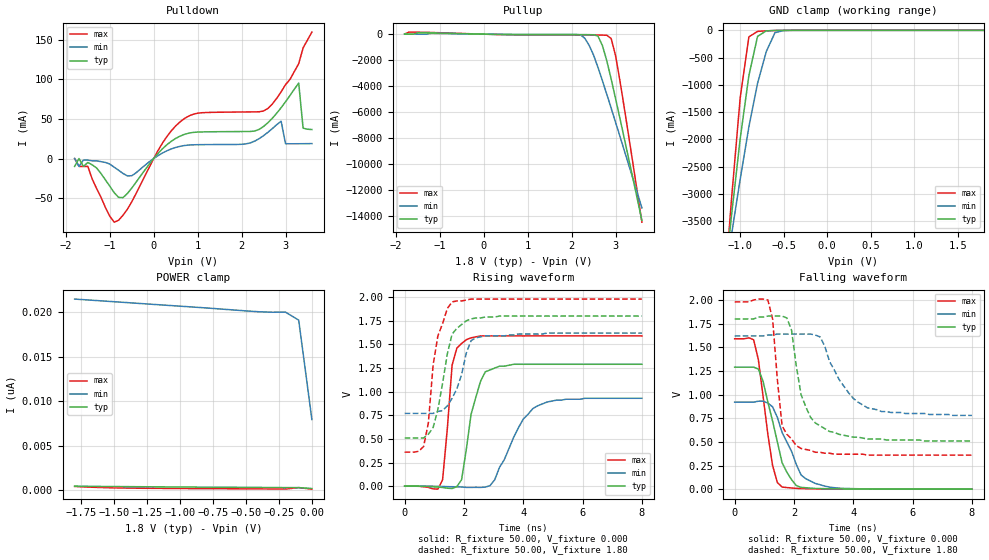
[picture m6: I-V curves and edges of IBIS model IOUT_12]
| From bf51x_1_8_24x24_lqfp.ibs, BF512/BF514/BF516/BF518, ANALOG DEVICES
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|   Model prw0812swcdg_25
[Model]   IOUT_12
Model_type   I/O
Polarity   Non-Inverting
Enable   Active-Low
Vinl =   0.70V
Vinh =   1.00V
Vmeas =   1.20V
Cref =  50.00pF
Rref =   1.00M
Vref =  0.000V
C_comp   4.56pF   4.10pF   5.01pF
[Temperature Range]   25.00   0.12k   -40.00
[Voltage Range]   1.80V   1.62V   1.98V
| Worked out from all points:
|   slope of the pulldown table from 0 to 0.27 V, typ, clamps not added: 17 ohm
|   slope of the pullup table from 0 to 0.27 V, typ, clamps not added: 16.9 ohm
|   GND clamp passes 1 mA (typ) near -0.53 V on its own axis
|   rising waveform, R_fixture 50.00, V_fixture 0.000: 20-80 % time 472ps typ, 926ps min, 244ps max; typ from 0 V to 1.29 V
|   rising waveform, R_fixture 50.00, V_fixture 1.80: 20-80 % time 464ps typ, 513ps min, 398ps max; typ from 0.51 V to 1.8 V
|   falling waveform, R_fixture 50.00, V_fixture 0.000: 20-80 % time 597ps typ, 726ps min, 407ps max; typ from 1.29 V to 0 V
|   falling waveform, R_fixture 50.00, V_fixture 1.80: 20-80 % time 570ps typ, 950ps min, 279ps max; typ from 1.8 V to 0.51 V
[Pulldown]
| voltage   I(typ)   I(min)   I(max)
-1.8V     -10mA      0A         0A
-1.4V     -8mA       -3mA       -26mA
-1V       -35mA      -7mA       -73mA
-800mV    -49.2mA    -14.8mA    -78.15mA
-500mV    -37.44mA   -21.82mA   -54.81mA
600mV     28.34mA    15.42mA    46.41mA
2.5V      40.54mA    28.91mA    60.13mA
2.9V      64.32mA    47.23mA    84.42mA
3V        71.8mA     18.76mA    93.51mA
3.3V      95.44mA    18.69mA    120mA
3.4V      38.41mA    18.74mA    140mA
3.6V      36.68mA    18.88mA    160mA
[Pullup]
| voltage   I(typ)   I(min)   I(max)
-1.8V     1.75mA     550uA      14.91mA
-1.6V     3.92mA     570uA      160mA
2.2V      -36.14mA   -47.43mA   -60.12mA
2.3V      -36.65mA   -310mA     -60.23mA
2.4V      -38.95mA   -860mA     -60.39mA
2.6V      -150mA     -2.55A     -65.28mA
2.7V      -860mA     -3.56A     -72.49mA
2.8V      -2.03A     -4.61A     -83.96mA
2.9V      -3.44A     -5.68A     -330mA
3V        -4.94A     -6.77A     -1.64A
3.1V      -6.47A     -7.85A     -3.57A
3.6V      -14.32A    -13.36A    -14.46A
[GND_clamp]
| voltage   I(typ)   I(min)   I(max)
-1.8V     -14.28A    -11.35A    -18.41A
-1.2V     -4.9A      -4.81A     -5.19A
-1.1V     -3.4A      -3.75A     -3.1A
-1V       -1.99A     -2.73A     -1.24A
-900mV    -830mA     -1.77A     -120mA
-800mV    -110mA     -970mA     -19.21mA
-700mV    -9.89mA    -390mA     -9.78mA
-600mV    -2.57mA    -42.87mA   -3.5mA
-500mV    -460uA     -4.38mA    -550uA
1.8V      170pA      19.94nA    82.46pA
[POWER_clamp]
| voltage   I(typ)   I(min)   I(max)
-1.8V     440pA      21.46nA    400pA
-1.3V     370pA      20.96nA    200pA
-400mV    290pA      20.03nA    130pA
-200mV    270pA      19.99nA    110pA
-100mV    270pA      19.09nA    270pA
0V        170pA      7.92nA     95.65pA
[Ramp]
| variable   typ   min   max
dV/dt_r   0.78/0.46n   0.56/0.89n   0.96/0.27n
dV/dt_f   0.77/0.58n   0.50/0.96n   0.97/0.31n
R_load = 50.00
[Rising Waveform]
R_fixture = 50.00
V_fixture = 0.000
V_fixture_min = 0.000
V_fixture_max = 0.000
L_fixture = 0.000H
C_fixture = 0.000F
| time   V(typ)   V(min)   V(max)
0s        0V         0V         0V
1.28ns    -14.22mV   -3.55mV    67.64mV
1.6ns     -24.61mV   -6.05mV    1.28V
1.92ns    68.25mV    -8.49mV    1.51V
2.08ns    390mV      -13.13mV   1.55V
2.24ns    760mV      -13.22mV   1.57V
2.72ns    1.21V      -9.73mV    1.59V
4ns       1.29V      710mV      1.59V
4.48ns    1.29V      850mV      1.59V
8ns       1.29V      930mV      1.59V
[Rising Waveform]
R_fixture = 50.00
V_fixture = 1.80
V_fixture_min = 1.62
V_fixture_max = 1.98
L_fixture = 0.000H
C_fixture = 0.000F
| time   V(typ)   V(min)   V(max)
0s        510mV      770mV      360mV
640ps     510mV      770mV      420mV
800ps     550mV      770mV      670mV
960ps     620mV      770mV      1.28V
1.12ns    810mV      790mV      1.59V
1.44ns    1.4V       850mV      1.88V
1.6ns     1.61V      930mV      1.95V
2.24ns    1.77V      1.54V      1.98V
2.4ns     1.78V      1.57V      1.98V
8ns       1.8V       1.62V      1.98V
[Falling Waveform]
R_fixture = 50.00
V_fixture = 0.000
V_fixture_min = 0.000
V_fixture_max = 0.000
L_fixture = 0.000H
C_fixture = 0.000F
| time   V(typ)   V(min)   V(max)
0s        1.29V      920mV      1.59V
640ps     1.29V      920mV      1.58V
800ps     1.27V      930mV      1.37V
960ps     1.14V      930mV      980mV
1.28ns    720mV      870mV      250mV
1.44ns    500mV      760mV      70.38mV
1.6ns     280mV      600mV      22.75mV
2.24ns    18.52mV    150mV      6.49mV
2.72ns    7.5mV      60.55mV    3.02mV
8ns       42.66uV    87.17uV    12.15uV
[Falling Waveform]
R_fixture = 50.00
V_fixture = 1.80
V_fixture_min = 1.62
V_fixture_max = 1.98
L_fixture = 0.000H
C_fixture = 0.000F
| time   V(typ)   V(min)   V(max)
0s        1.8V       1.62V      1.98V
1.12ns    1.83V      1.63V      2V
1.28ns    1.83V      1.63V      1.8V
1.6ns     1.83V      1.64V      670mV
1.92ns    1.68V      1.64V      530mV
2.08ns    1.3V       1.64V      460mV
2.56ns    760mV      1.64V      410mV
3.2ns     610mV      1.35V      380mV
4.48ns    530mV      860mV      360mV
8ns       510mV      780mV      360mV
